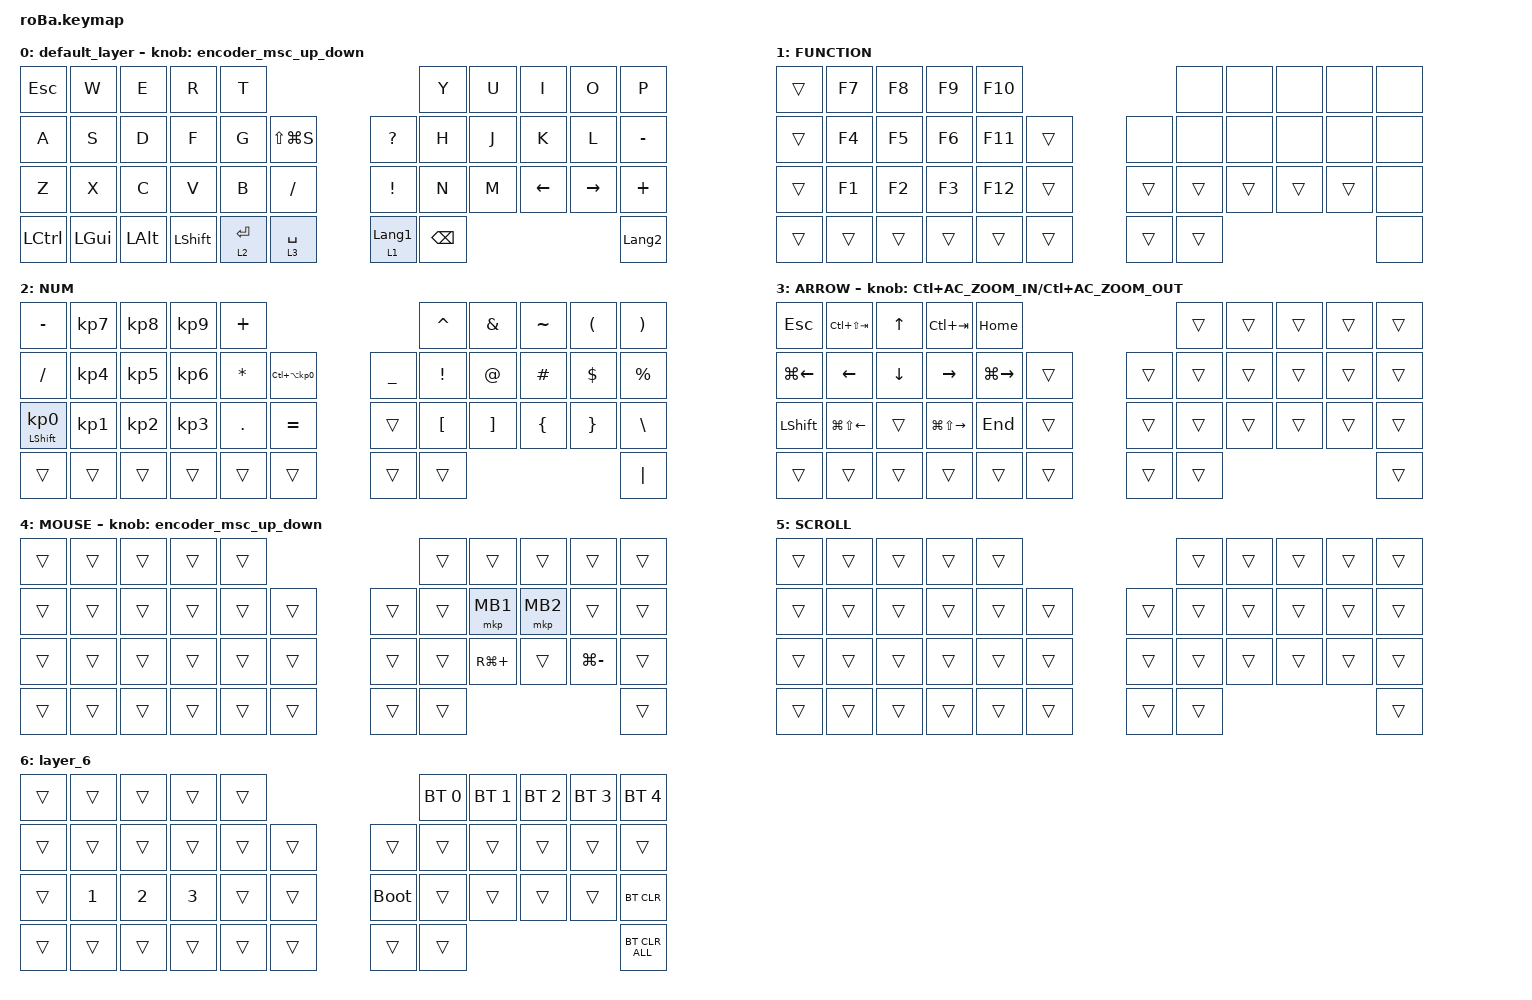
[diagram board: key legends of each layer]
#include <input/processors.dtsi>
#include <behaviors.dtsi>
#include <dt-bindings/zmk/bt.h>
#include <dt-bindings/zmk/keys.h>
#include <dt-bindings/zmk/pointing.h>

#define ZMK_POINTING_DEFAULT_SCRL_VAL 80

/* ---------------- Mod-Tap tuning ---------------- */

&mt {
    flavor = "balanced";
    quick-tap-ms = <0>;
};

/* ---------------- Trackball / Auto-mouse ---------------- */

&trackball {
    automouse-layer = <4>;   /* MOUSE */
    scroll-layers = <5>;   /* SCROLL */
};

&mkp_input_listener { input-processors = <&zip_temp_layer 4 250>; };

/* ---------------- Root ---------------- */

/ {
    /* ---------- Combos ---------- */

    combos {
        compatible = "zmk,combos";

        shift {
            bindings = <&kp TAB>;
            key-positions = <11 12>;
        };

        shift_tab {
            bindings = <&kp LS(TAB)>;
            key-positions = <12 13>;
        };

        eq {
            bindings = <&kp EQUAL>;
            key-positions = <24 25>;
        };

        jk {
            bindings = <&kp COMMA>;
            key-positions = <18 19>;
        };

        kl {
            bindings = <&kp DOT>;
            key-positions = <19 20>;
        };

        lp {
            bindings = <&kp MINUS>;
            key-positions = <20 21>;
        };
    };

    /* ---------- Macros ---------- */

    macros {
        to_layer_0: to_layer_0 {
            compatible = "zmk,behavior-macro-one-param";
            #binding-cells = <1>;
            bindings = <&to 0 &macro_param_1to1 &kp MACRO_PLACEHOLDER>;
            label = "TO_LAYER_0";
        };

        kakko: kakko {
            compatible = "zmk,behavior-macro";
            #binding-cells = <0>;
            bindings = <&none>;
            label = "KAKKO";
        };
    };

    /* ---------- Behaviors (merged) ---------- */

    behaviors {
        /* Hold-Tap to layer 0 */

        lt_to_layer_0: lt_to_layer_0 {
            compatible = "zmk,behavior-hold-tap";
            label = "LAYER_TAP_TO_0";
            #binding-cells = <2>;
            bindings = <&mo>, <&to_layer_0>;

            tapping-term-ms = <200>;
        };

        /* Encoder scroll */

        encoder_msc_up_down: encoder_msc_up_down {
            compatible = "zmk,behavior-sensor-rotate";
            label = "ENCODER_MSC_UP_DOWN";
            #sensor-binding-cells = <0>;
            bindings = <&msc SCRL_UP>, <&msc SCRL_DOWN>;

            tap-ms = <20>;
        };
    };

    /* ---------- Keymap ---------- */

    keymap {
        compatible = "zmk,keymap";

        /* ===== Default ===== */

        default_layer {
            bindings = <
&kp ESCAPE  &kp W         &kp E         &kp R       &kp T                                                      &kp Y          &kp U  &kp I           &kp O            &kp P
&kp A       &kp S         &kp D         &kp F       &kp G        &kp LS(LG(S))               &kp QUESTION      &kp H          &kp J  &kp K           &kp L            &kp MINUS
&kp Z       &kp X         &kp C         &kp V       &kp B        &kp SLASH                   &kp EXCLAMATION   &kp N          &kp M  &kp LEFT_ARROW  &kp RIGHT_ARROW  &kp PLUS
&kp LCTRL   &kp LEFT_GUI  &kp LEFT_ALT  &kp LSHIFT  &lt 2 ENTER  &lt_to_layer_0 3 SPACE      &lt 1 LANGUAGE_1  &kp BACKSPACE                                          &kp LANGUAGE_2
            >;

            sensor-bindings = <&encoder_msc_up_down>;
        };

        /* ===== Function ===== */

        FUNCTION {
            bindings = <
&trans  &kp F7  &kp F8  &kp F9  &kp F10                      &none   &none   &none   &none   &none
&trans  &kp F4  &kp F5  &kp F6  &kp F11  &trans      &none   &none   &none   &none   &none   &none
&trans  &kp F1  &kp F2  &kp F3  &kp F12  &trans      &trans  &trans  &trans  &trans  &trans  &none
&trans  &trans  &trans  &trans  &trans   &trans      &trans  &trans                          &none
            >;
        };

        /* ===== Numbers ===== */

        NUM {
            bindings = <
&kp MINUS                   &kp KP_NUMBER_7  &kp KP_NUMBER_8  &kp KP_NUMBER_9  &kp PLUS                                                   &kp CARET         &kp AMPERSAND      &kp TILDE       &kp LEFT_PARENTHESIS  &kp RIGHT_PARENTHESIS
&kp SLASH                   &kp KP_NUMBER_4  &kp KP_NUMBER_5  &kp KP_NUMBER_6  &kp ASTERISK  &kp LC(LA(KP_NUMBER_0))      &kp UNDERSCORE  &kp EXCLAMATION   &kp AT_SIGN        &kp HASH        &kp DOLLAR            &kp PERCENT
&mt LEFT_SHIFT KP_NUMBER_0  &kp KP_NUMBER_1  &kp KP_NUMBER_2  &kp KP_NUMBER_3  &kp PERIOD    &kp EQUAL                    &trans          &kp LEFT_BRACKET  &kp RIGHT_BRACKET  &kp LEFT_BRACE  &kp RIGHT_BRACE       &kp BACKSLASH
&trans                      &trans           &trans           &trans           &trans        &trans                       &trans          &trans                                                                     &kp PIPE
            >;
        };

        /* ===== Arrows ===== */

        ARROW {
            bindings = <
&kp ESCAPE          &kp LC(LS(TAB))         &kp UP_ARROW    &kp LC(TAB)              &kp HOME                                 &trans  &trans  &trans  &trans  &trans
&kp LG(LEFT_ARROW)  &kp LEFT_ARROW          &kp DOWN_ARROW  &kp RIGHT_ARROW          &kp LG(RIGHT_ARROW)  &trans      &trans  &trans  &trans  &trans  &trans  &trans
&kp LEFT_SHIFT      &kp LG(LS(LEFT_ARROW))  &trans          &kp LG(LS(RIGHT_ARROW))  &kp END              &trans      &trans  &trans  &trans  &trans  &trans  &trans
&trans              &trans                  &trans          &trans                   &trans               &trans      &trans  &trans                          &trans
            >;

            sensor-bindings = <&inc_dec_kp LC(C_AC_ZOOM_IN) LC(C_AC_ZOOM_OUT)>;
        };

        /* ===== Mouse ===== */

        MOUSE {
            bindings = <
&trans  &trans  &trans  &trans  &trans                      &trans  &trans        &trans    &trans         &trans
&trans  &trans  &trans  &trans  &trans  &trans      &trans  &trans  &mkp MB1      &mkp MB2  &trans         &trans
&trans  &trans  &trans  &trans  &trans  &trans      &trans  &trans  &kp RG(PLUS)  &trans    &kp LG(MINUS)  &trans
&trans  &trans  &trans  &trans  &trans  &trans      &trans  &trans                                         &trans
            >;

            sensor-bindings = <&encoder_msc_up_down>;
        };

        /* ===== Scroll (empty, reserved) ===== */

        SCROLL {
            bindings = <
&trans  &trans  &trans  &trans  &trans                      &trans  &trans  &trans  &trans  &trans
&trans  &trans  &trans  &trans  &trans  &trans      &trans  &trans  &trans  &trans  &trans  &trans
&trans  &trans  &trans  &trans  &trans  &trans      &trans  &trans  &trans  &trans  &trans  &trans
&trans  &trans  &trans  &trans  &trans  &trans      &trans  &trans                          &trans
            >;
        };

        /* ===== Bluetooth ===== */

        layer_6 {
            bindings = <
&trans  &trans        &trans        &trans        &trans                           &bt BT_SEL 0  &bt BT_SEL 1  &bt BT_SEL 2  &bt BT_SEL 3  &bt BT_SEL 4
&trans  &trans        &trans        &trans        &trans  &trans      &trans       &trans        &trans        &trans        &trans        &trans
&trans  &kp NUMBER_1  &kp NUMBER_2  &kp NUMBER_3  &trans  &trans      &bootloader  &trans        &trans        &trans        &trans        &bt BT_CLR
&trans  &trans        &trans        &trans        &trans  &trans      &trans       &trans                                                  &bt BT_CLR_ALL
            >;
        };
    };
};
